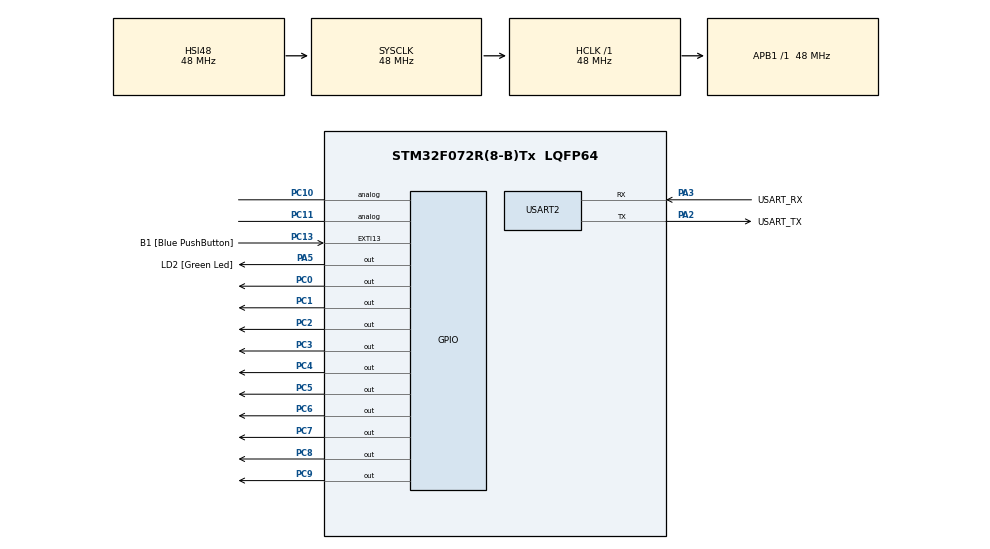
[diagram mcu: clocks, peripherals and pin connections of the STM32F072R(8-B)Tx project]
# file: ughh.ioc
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Mcu.Family=STM32F0
Mcu.Name=STM32F072R(8-B)Tx
Mcu.Package=LQFP64
PA13.GPIO_Label=TMS
PA13.Mode=Serial_Wire
PA13.Signal=SYS_SWDIO
PA14.GPIO_Label=TCK
PA14.Mode=Serial_Wire
PA14.Signal=SYS_SWCLK
PA2.GPIO_Label=USART_TX
PA2.GPIO_Mode=GPIO_MODE_AF_PP
PA2.GPIO_PuPd=GPIO_NOPULL
PA2.GPIO_Speed=GPIO_SPEED_FREQ_LOW
PA2.Mode=Asynchronous
PA2.Signal=USART2_TX
PA3.GPIO_Label=USART_RX
PA3.GPIO_Mode=GPIO_MODE_AF_PP
PA3.GPIO_PuPd=GPIO_NOPULL
PA3.GPIO_Speed=GPIO_SPEED_FREQ_LOW
PA3.Mode=Asynchronous
PA3.Signal=USART2_RX
PA5.GPIO_Label=LD2 [Green Led]
PA5.GPIO_Mode=GPIO_MODE_OUTPUT_PP
PA5.GPIO_PuPd=GPIO_NOPULL
PA5.GPIO_Speed=GPIO_SPEED_FREQ_LOW
PA5.Signal=GPIO_Output
PC0.Signal=GPIO_Output
PC1.Signal=GPIO_Output
PC10.Signal=GPIO_Analog
PC11.Signal=GPIO_Analog
PC13.GPIO_Label=B1 [Blue PushButton]
PC13.GPIO_ModeDefaultEXTI=GPIO_MODE_IT_FALLING
PC13.Signal=GPXTI13
PC14-OSC32_IN.Mode=LSE-External-Oscillator
PC14-OSC32_IN.Signal=RCC_OSC32_IN
PC15-OSC32_OUT.Mode=LSE-External-Oscillator
PC15-OSC32_OUT.Signal=RCC_OSC32_OUT
PC2.Signal=GPIO_Output
PC3.Signal=GPIO_Output
PC4.Signal=GPIO_Output
PC5.Signal=GPIO_Output
PC6.Signal=GPIO_Output
PC7.Signal=GPIO_Output
PC8.Signal=GPIO_Output
PC9.Signal=GPIO_Output
PF0-OSC_IN.Mode=HSE-External-Clock-Source
PF0-OSC_IN.Signal=RCC_OSC_IN
PF1-OSC_OUT.Signal=RCC_OSC_OUT
ProjectManager.HeapSize=0x200
ProjectManager.StackSize=0x400
ProjectManager.TargetToolchain=MDK-ARM V5
RCC.AHBFreq_Value=48000000
RCC.APB1Freq_Value=48000000
RCC.APB1TimFreq_Value=48000000
RCC.FLatency-AdvancedSettings=FLASH_LATENCY_1
RCC.HCLKFreq_Value=48000000
RCC.PLLDivider=RCC_PREDIV_DIV2
RCC.PLLMUL=RCC_PLL_MUL12
RCC.PREFETCH_ENABLE-AdvancedSettings=1
RCC.SYSCLKFreq_VALUE=48000000
RCC.SYSCLKSource=RCC_SYSCLKSOURCE_HSI48
USART2.VirtualMode=VM_ASYNC
USART2.VirtualMode-Asynchronous=VM_ASYNC
board=NUCLEO-F072RB

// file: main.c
/* USER CODE BEGIN Header */
/**
  ******************************************************************************
  * @file           : main.c
  * @brief          : Main program body
  ******************************************************************************
  ** This notice applies to any and all portions of this file
  * that are not between comment pairs USER CODE BEGIN and
  * USER CODE END. Other portions of this file, whether
  * inserted by the user or by software development tools
  * are owned by their respective copyright owners.
  *
  * COPYRIGHT(c) 2019 STMicroelectronics
  *
  * Redistribution and use in source and binary forms, with or without modification,
  * are permitted provided that the following conditions are met:
  *   1. Redistributions of source code must retain the above copyright notice,
  *      this list of conditions and the following disclaimer.
  *   2. Redistributions in binary form must reproduce the above copyright notice,
  *      this list of conditions and the following disclaimer in the documentation
  *      and/or other materials provided with the distribution.
  *   3. Neither the name of STMicroelectronics nor the names of its contributors
  *      may be used to endorse or promote products derived from this software
  *      without specific prior written permission.
  *
  * THIS SOFTWARE IS PROVIDED BY THE COPYRIGHT HOLDERS AND CONTRIBUTORS "AS IS"
  * AND ANY EXPRESS OR IMPLIED WARRANTIES, INCLUDING, BUT NOT LIMITED TO, THE
  * IMPLIED WARRANTIES OF MERCHANTABILITY AND FITNESS FOR A PARTICULAR PURPOSE ARE
  * DISCLAIMED. IN NO EVENT SHALL THE COPYRIGHT HOLDER OR CONTRIBUTORS BE LIABLE
  * FOR ANY DIRECT, INDIRECT, INCIDENTAL, SPECIAL, EXEMPLARY, OR CONSEQUENTIAL
  * DAMAGES (INCLUDING, BUT NOT LIMITED TO, PROCUREMENT OF SUBSTITUTE GOODS OR
  * SERVICES; LOSS OF USE, DATA, OR PROFITS; OR BUSINESS INTERRUPTION) HOWEVER
  * CAUSED AND ON ANY THEORY OF LIABILITY, WHETHER IN CONTRACT, STRICT LIABILITY,
  * OR TORT (INCLUDING NEGLIGENCE OR OTHERWISE) ARISING IN ANY WAY OUT OF THE USE
  * OF THIS SOFTWARE, EVEN IF ADVISED OF THE POSSIBILITY OF SUCH DAMAGE.
  *
  ******************************************************************************
  */
/* USER CODE END Header */

#include "main.h"

/* USER CODE BEGIN Includes */

const unsigned char nums[] = {0x40, 0x79, 0x24, 0x30, 0x19, 0x12, 0x02, 0x58, 0x00, 0x10}; //anode
/* USER CODE END Includes */

UART_HandleTypeDef huart2;

void SystemClock_Config(void);
static void MX_GPIO_Init(void);
static void MX_USART2_UART_Init(void);
/* USER CODE BEGIN PFP */

void display(void);
char check_function(void);
/* USER CODE END PFP */

int main(void)
{

  /* MCU Configuration--------------------------------------------------------*/

  /* Reset of all peripherals, Initializes the Flash interface and the Systick. */
  HAL_Init();

  /* Configure the system clock */
  SystemClock_Config();

  /* Initialize all configured peripherals */
  MX_GPIO_Init();
  MX_USART2_UART_Init();

  /* Infinite loop */
  while (1)
  {

    display();
  }
}

void SystemClock_Config(void)
{
  RCC_OscInitTypeDef RCC_OscInitStruct = {0};
  RCC_ClkInitTypeDef RCC_ClkInitStruct = {0};
  RCC_PeriphCLKInitTypeDef PeriphClkInit = {0};

  /**Initializes the CPU, AHB and APB busses clocks
  */
  RCC_OscInitStruct.OscillatorType = RCC_OSCILLATORTYPE_HSI48;
  RCC_OscInitStruct.HSI48State = RCC_HSI48_ON;
  RCC_OscInitStruct.PLL.PLLState = RCC_PLL_NONE;
  if (HAL_RCC_OscConfig(&RCC_OscInitStruct) != HAL_OK)
  {
    Error_Handler();
  }
  /**Initializes the CPU, AHB and APB busses clocks
  */
  RCC_ClkInitStruct.ClockType = RCC_CLOCKTYPE_HCLK | RCC_CLOCKTYPE_SYSCLK | RCC_CLOCKTYPE_PCLK1;
  RCC_ClkInitStruct.SYSCLKSource = RCC_SYSCLKSOURCE_HSI48;
  RCC_ClkInitStruct.AHBCLKDivider = RCC_SYSCLK_DIV1;
  RCC_ClkInitStruct.APB1CLKDivider = RCC_HCLK_DIV1;

  if (HAL_RCC_ClockConfig(&RCC_ClkInitStruct, FLASH_LATENCY_1) != HAL_OK)
  {
    Error_Handler();
  }
  PeriphClkInit.PeriphClockSelection = RCC_PERIPHCLK_USART2;
  PeriphClkInit.Usart2ClockSelection = RCC_USART2CLKSOURCE_PCLK1;
  if (HAL_RCCEx_PeriphCLKConfig(&PeriphClkInit) != HAL_OK)
  {
    Error_Handler();
  }
}

static void MX_USART2_UART_Init(void)
{

  huart2.Instance = USART2;
  huart2.Init.BaudRate = 38400;
  huart2.Init.WordLength = UART_WORDLENGTH_8B;
  huart2.Init.StopBits = UART_STOPBITS_1;
  huart2.Init.Parity = UART_PARITY_NONE;
  huart2.Init.Mode = UART_MODE_TX_RX;
  huart2.Init.HwFlowCtl = UART_HWCONTROL_NONE;
  huart2.Init.OverSampling = UART_OVERSAMPLING_16;
  huart2.Init.OneBitSampling = UART_ONE_BIT_SAMPLE_DISABLE;
  huart2.AdvancedInit.AdvFeatureInit = UART_ADVFEATURE_NO_INIT;
  if (HAL_UART_Init(&huart2) != HAL_OK)
  {
    Error_Handler();
  }
}

static void MX_GPIO_Init(void)
{
  GPIO_InitTypeDef GPIO_InitStruct = {0};

  /* GPIO Ports Clock Enable */
  __HAL_RCC_GPIOC_CLK_ENABLE();
  __HAL_RCC_GPIOF_CLK_ENABLE();
  __HAL_RCC_GPIOA_CLK_ENABLE();

  /*Configure GPIO pin Output Level */
  HAL_GPIO_WritePin(GPIOC, GPIO_PIN_0 | GPIO_PIN_1 | GPIO_PIN_2 | GPIO_PIN_3 | GPIO_PIN_4 | GPIO_PIN_5 | GPIO_PIN_6 | GPIO_PIN_7 | GPIO_PIN_8 | GPIO_PIN_9, GPIO_PIN_RESET);

  /*Configure GPIO pin Output Level */
  HAL_GPIO_WritePin(LD2_GPIO_Port, LD2_Pin, GPIO_PIN_RESET);

  /*Configure GPIO pin : B1_Pin */
  GPIO_InitStruct.Pin = B1_Pin;
  GPIO_InitStruct.Mode = GPIO_MODE_IT_FALLING;
  GPIO_InitStruct.Pull = GPIO_NOPULL;
  HAL_GPIO_Init(B1_GPIO_Port, &GPIO_InitStruct);

  /*Configure GPIO pins : PC0 PC1 PC2 PC3
                           PC4 PC5 PC6 PC7
                           PC8 PC9 */
  GPIO_InitStruct.Pin = GPIO_PIN_0 | GPIO_PIN_1 | GPIO_PIN_2 | GPIO_PIN_3 | GPIO_PIN_4 | GPIO_PIN_5 | GPIO_PIN_6 | GPIO_PIN_7 | GPIO_PIN_8 | GPIO_PIN_9;
  GPIO_InitStruct.Mode = GPIO_MODE_OUTPUT_PP;
  GPIO_InitStruct.Pull = GPIO_NOPULL;
  GPIO_InitStruct.Speed = GPIO_SPEED_FREQ_LOW;
  HAL_GPIO_Init(GPIOC, &GPIO_InitStruct);

  /*Configure GPIO pin : LD2_Pin */
  GPIO_InitStruct.Pin = LD2_Pin;
  GPIO_InitStruct.Mode = GPIO_MODE_OUTPUT_PP;
  GPIO_InitStruct.Pull = GPIO_NOPULL;
  GPIO_InitStruct.Speed = GPIO_SPEED_FREQ_LOW;
  HAL_GPIO_Init(LD2_GPIO_Port, &GPIO_InitStruct);

  /*Configure GPIO pins : PC10 PC11 */
  GPIO_InitStruct.Pin = GPIO_PIN_10 | GPIO_PIN_11;
  GPIO_InitStruct.Mode = GPIO_MODE_ANALOG;
  GPIO_InitStruct.Pull = GPIO_NOPULL;
  HAL_GPIO_Init(GPIOC, &GPIO_InitStruct);
}

/* USER CODE BEGIN 4 */
char check_function()
{

  if ((GPIOC->IDR & (1 << 9)) != 0)
  {
    //HAL_Delay(5);
    //if ((GPIOC->IDR &(1<<10)) != 0){
    return 1;
    //}
  }
  else if ((GPIOC->IDR & (1 << 10)) != 0)
  {
    ////HAL_Delay(5);
    //if ((GPIOC->IDR &(1<<9)) != 0){
    //	return 0;
    return 0;
    //}
  }
  return 2;
}
void display()
{

  int tens = 0, unit = 0, aux = 2, estadoIN = 0, estadoOUT = 0, estadoIN2 = 0, estadoOUT2 = 0, outWait = 0, inWait = 0;
  while (1)
  {
    for (int delay = 0; delay < 25; delay++)
    {

      GPIOC->BSRR = (1 << 7) + (1 << 23);
      GPIOC->BSRR = (0 << 8) + (1 << 24);
      HAL_Delay(10);
      GPIOC->ODR = nums[tens];

      GPIOC->BSRR = (0 << 7) + (1 << 23);
      GPIOC->BSRR = (1 << 8) + (1 << 24);
      HAL_Delay(10);
      GPIOC->ODR = nums[unit];

      if (check_function() == 1)
        aux = 1;
      else if (check_function() == 0)
        aux = 0;
      else
        aux = 2;

      if (aux == 1 && outWait == 0 && inWait == 0)
      {
        estadoIN = 1;
        outWait = 1;
      }
      if (estadoIN == 1 && aux == 0 && inWait == 0)
      {
        estadoIN2 = 1;
        estadoIN = 0;
      }
      if (estadoIN2 == 1 && aux == 2)
      {
        if (unit < 9)
        {
          unit++;
        }
        else if (tens < 9)
        {

          tens++;
          unit = 0;
        }
        else
        {
          tens = 0;
          unit = 0;
        }
        estadoIN2 = 0;
        outWait = 0;
      }
      if (aux == 0 && outWait == 0 && inWait == 0)
      {
        estadoOUT = 1;
        inWait = 1;
      }
      if (estadoOUT == 1 && aux == 1 && outWait == 0)
      {
        estadoOUT2 = 1;
        estadoOUT = 0;
      }
      if (estadoOUT2 == 1 && aux == 2)
      {
        if (unit > 0)
        {
          unit--;
        }
        else if (tens > 0)
        {

          tens--;
          unit = 9;
        }
        else
        {
          tens = 0;
          unit = 0;
        }
        inWait = 0;
        estadoOUT2 = 0;
      }
      aux = 2;
    }
  }
}
/* USER CODE END 4 */

void Error_Handler(void)
{
}

/************************ (C) COPYRIGHT STMicroelectronics *****END OF FILE****/
